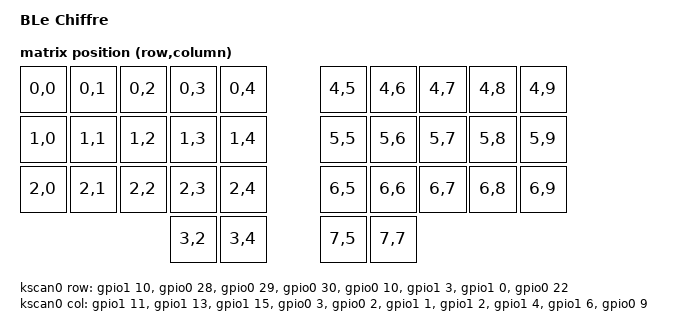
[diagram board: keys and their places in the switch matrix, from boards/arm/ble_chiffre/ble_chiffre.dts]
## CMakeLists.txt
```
cmake_minimum_required(VERSION 3.13.1)

set(CONFIG_APPLICATION_DEFINED_SYSCALL true)
list(APPEND BOARD_ROOT ${CMAKE_SOURCE_DIR})
list(APPEND DTS_ROOT ${CMAKE_SOURCE_DIR})

# Add our custom Zephyr module for drivers w/ syscalls, etc.
list(APPEND DTS_ROOT ${CMAKE_SOURCE_DIR}/drivers/zephyr)

list(APPEND ZEPHYR_EXTRA_MODULES
  ${CMAKE_CURRENT_SOURCE_DIR}/drivers
)

include(cmake/zmk_config.cmake)

# Find Zephyr. This also loads Zephyr's build system.
find_package(Zephyr REQUIRED HINTS ../zephyr)
project(zmk)

zephyr_linker_sources(RODATA include/linker/zmk-events.ld)

# Add your source file to the "app" target. This must come after
# find_package(Zephyr) which defines the target.
target_include_directories(app PRIVATE include)
target_sources_ifdef(CONFIG_ZMK_SLEEP app PRIVATE src/power.c)
target_sources(app PRIVATE src/activity.c)
target_sources(app PRIVATE src/kscan.c)
target_sources(app PRIVATE src/matrix_transform.c)
target_sources(app PRIVATE src/hid.c)
target_sources(app PRIVATE src/sensors.c)
target_sources(app PRIVATE src/event_manager.c)
target_sources_ifdef(CONFIG_ZMK_EXT_POWER app PRIVATE src/ext_power_generic.c)
target_sources(app PRIVATE src/events/activity_state_changed.c)
target_sources(app PRIVATE src/events/position_state_changed.c)
target_sources(app PRIVATE src/events/layer_state_changed.c)
target_sources(app PRIVATE src/events/keycode_state_changed.c)
target_sources(app PRIVATE src/events/modifiers_state_changed.c)
target_sources(app PRIVATE src/events/sensor_event.c)
target_sources_ifdef(CONFIG_ZMK_BLE app PRIVATE src/events/ble_active_profile_changed.c)
target_sources_ifdef(CONFIG_ZMK_BLE app PRIVATE src/events/battery_state_changed.c)
target_sources_ifdef(CONFIG_USB app PRIVATE src/events/usb_conn_state_changed.c)
if ((NOT CONFIG_ZMK_SPLIT) OR CONFIG_ZMK_SPLIT_BLE_ROLE_CENTRAL)
  target_sources(app PRIVATE src/behaviors/behavior_key_press.c)
  target_sources(app PRIVATE src/behaviors/behavior_reset.c)
  target_sources(app PRIVATE src/behaviors/behavior_hold_tap.c)
  target_sources(app PRIVATE src/behaviors/behavior_combo.c)
  target_sources(app PRIVATE src/behaviors/behavior_sticky_key.c)
  target_sources(app PRIVATE src/behaviors/behavior_momentary_layer.c)
  target_sources(app PRIVATE src/behaviors/behavior_outputs.c)
  target_sources(app PRIVATE src/behaviors/behavior_toggle_layer.c)
  target_sources(app PRIVATE src/behaviors/behavior_to_layer.c)
  target_sources(app PRIVATE src/behaviors/behavior_transparent.c)
  target_sources(app PRIVATE src/behaviors/behavior_none.c)
  target_sources(app PRIVATE src/behaviors/behavior_sensor_rotate_key_press.c)
  target_sources_ifdef(CONFIG_ZMK_EXT_POWER app PRIVATE src/behaviors/behavior_ext_power.c)
  target_sources(app PRIVATE src/combo.c)
  target_sources(app PRIVATE src/keymap.c)
endif()
target_sources_ifdef(CONFIG_ZMK_RGB_UNDERGLOW app PRIVATE src/behaviors/behavior_rgb_underglow.c)
target_sources_ifdef(CONFIG_ZMK_BLE app PRIVATE src/behaviors/behavior_bt.c)
target_sources_ifdef(CONFIG_ZMK_BLE app PRIVATE src/ble.c)
target_sources_ifdef(CONFIG_ZMK_BLE app PRIVATE src/battery.c)
if (CONFIG_ZMK_SPLIT_BLE AND (NOT CONFIG_ZMK_SPLIT_BLE_ROLE_CENTRAL))
	target_sources(app PRIVATE src/split_listener.c)
	target_sources(app PRIVATE src/split/bluetooth/service.c)
endif()
if (CONFIG_ZMK_SPLIT_BLE AND CONFIG_ZMK_SPLIT_BLE_ROLE_CENTRAL)
	target_sources(app PRIVATE src/split/bluetooth/central.c)
endif()
target_sources_ifdef(CONFIG_USB app PRIVATE src/usb.c)
target_sources_ifdef(CONFIG_ZMK_BLE app PRIVATE src/hog.c)
target_sources_ifdef(CONFIG_ZMK_RGB_UNDERGLOW app PRIVATE src/rgb_underglow.c)
target_sources(app PRIVATE src/endpoints.c)
target_sources(app PRIVATE src/hid_listener.c)
target_sources(app PRIVATE src/main.c)

add_subdirectory(src/display/)

zephyr_cc_option(-Wfatal-errors)
```

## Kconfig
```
# Copyright (c) 2020 The ZMK Contributors
# SPDX-License-Identifier: MIT

mainmenu "ZMK Firmware"

menu "ZMK"

menu "Basic Keyboard Setup"

config ZMK_KEYBOARD_NAME
	string "Keyboard Name"

config USB_DEVICE_PRODUCT
	default ZMK_KEYBOARD_NAME

config BT_DEVICE_NAME
	default ZMK_KEYBOARD_NAME

config USB_DEVICE_VID
	default 0x1D50

config USB_DEVICE_PID
	default 0x615E

config USB_DEVICE_MANUFACTURER
	default "ZMK Project"

menu "HID Output Types"

config ZMK_USB
	bool "USB"
	select USB
	select USB_DEVICE_STACK
	select USB_DEVICE_HID

if ZMK_USB

config USB_NUMOF_EP_WRITE_RETRIES
	default 10

#ZMK_USB
endif

config ZMK_BLE
	bool "BLE (HID over GATT)"
	select BT
	select BT_SMP
	select BT_SMP_SC_PAIR_ONLY
	select BT_SMP_APP_PAIRING_ACCEPT
	select BT_PERIPHERAL
	select BT_DIS
	select BT_BAS
	select BT_SETTINGS
	select SETTINGS

if ZMK_BLE

config SYSTEM_WORKQUEUE_STACK_SIZE
	default 2048

config ZMK_BLE_CLEAR_BONDS_ON_START
	bool "Configuration that clears all bond information from the keyboard on startup."
	default n

# HID GATT notifications sent this way are *not* picked up by Linux, and possibly others.
config BT_GATT_NOTIFY_MULTIPLE
	default n

config BT_DEVICE_APPEARANCE
	default 961

config ZMK_BLE_PASSKEY_ENTRY
	bool "Experimental: Requiring typing passkey from host to pair BLE connection"
	default n

#ZMK_BLE
endif

#HID Output Types
endmenu

menu "Split Support"

config ZMK_SPLIT
	bool "Split keyboard support"

if ZMK_SPLIT

config ZMK_SPLIT_BLE
	bool "Split keyboard support via BLE transport"
	depends on ZMK_BLE
	default y
	select BT_USER_PHY_UPDATE

if ZMK_SPLIT_BLE

config ZMK_SPLIT_BLE_ROLE_CENTRAL
	bool "Central"
	select BT_CENTRAL
	select BT_GATT_CLIENT

if !ZMK_SPLIT_BLE_ROLE_CENTRAL

config ZMK_USB
	default n

config BT_MAX_PAIRED
	default 1

config BT_MAX_CONN
	default 1

config BT_GAP_AUTO_UPDATE_CONN_PARAMS
	default n

#!ZMK_SPLIT_BLE_ROLE_CENTRAL
endif

#ZMK_SPLIT_BLE
endif

#ZMK_SPLIT
endif 

if ZMK_BLE

if ZMK_SPLIT_BLE && ZMK_SPLIT_BLE_ROLE_CENTRAL

config BT_MAX_CONN
	default 6

config BT_MAX_PAIRED
	default 6

#ZMK_SPLIT_BLE && ZMK_SPLIT_BLE_ROLE_CENTRAL
endif

if !ZMK_SPLIT_BLE

config BT_MAX_CONN
	default 5

config BT_MAX_PAIRED
	default 5

#!ZMK_SPLIT_BLE
endif

#ZMK_BLE
endif

#Split Support
endmenu

#Basic Keyboard Setup
endmenu

menu "Display/LED Options"

rsource "src/display/Kconfig"

config ZMK_RGB_UNDERGLOW
	bool "RGB Adressable LED Underglow"
	select LED_STRIP

if ZMK_RGB_UNDERGLOW

# This default value cuts down on tons of excess .conf files, if you're using GPIO, manually disable this
config SPI
	default y

config ZMK_RGB_UNDERGLOW_EXT_POWER
	bool "RGB underglow toggling also controls external power"
	default y

config ZMK_RGB_UNDERGLOW_HUE_STEP
	int "RGB underglow hue step in degrees of 360"
	default 10

config ZMK_RGB_UNDERGLOW_SAT_STEP
	int "RGB underglow sturation step in percent"
	default 10

config ZMK_RGB_UNDERGLOW_BRT_STEP
	int "RGB underglow brightness step in percent"
	default 10

config ZMK_RGB_UNDERGLOW_HUE_START
	int "RGB underglow start hue value from 0-359"
	default 0

config ZMK_RGB_UNDERGLOW_SAT_START
	int "RGB underglow start saturations value from 0-100"
	default 100

config ZMK_RGB_UNDERGLOW_BRT_START
	int "RGB underglow start brightness value from 0-100"
	default 100

config ZMK_RGB_UNDERGLOW_SPD_START
	int "RGB underglow start animation speed value from 1-5"
	default 3

config ZMK_RGB_UNDERGLOW_EFF_START
	int "RGB underglow start effect int value related to the effect enum list"
	default 0

config ZMK_RGB_UNDERGLOW_ON_START
	bool "RGB underglow starts on by default"
	default y

#ZMK_RGB_UNDERGLOW
endif

#Display/LED Options
endmenu

menu "Power Management"

config ZMK_IDLE_TIMEOUT
	int "Milliseconds of inactivity before entering idle state (OLED shutoff, etc)"
	default 30000

config ZMK_SLEEP
	bool "Enable deep sleep support"
	imply USB

if ZMK_SLEEP

config SYS_POWER_DEEP_SLEEP_STATES
	default y

choice SYS_PM_POLICY
	default SYS_PM_POLICY_APP
endchoice

config DEVICE_POWER_MANAGEMENT
	default y

config ZMK_IDLE_SLEEP_TIMEOUT
	int "Milliseconds of inactivity before entering deep sleep"
	default 900000

#ZMK_SLEEP
endif

config ZMK_EXT_POWER
	bool "Enable support to control external power output"
	default y

#Power Management
endmenu

menu "Combo options"

config ZMK_BHV_COMBO_MAX_PRESSED_COMBOS
	int "Maximum number of currently pressed combos"
	default 4

config ZMK_BHV_COMBO_MAX_COMBOS_PER_KEY
	int "Maximum number of combos per key"
	default 5

config ZMK_BHV_COMBO_MAX_KEYS_PER_COMBO
	int "Maximum number of keys per combo"
	default 4

#Display/LED Options
endmenu

menu "Advanced"

menu "Initialization Priorities"

if USB

config ZMK_USB_INIT_PRIORITY
	int "USB Init Priority"
	default 50

#USB
endif

if ZMK_BLE || ZMK_SPLIT_BLE

config ZMK_BLE_INIT_PRIORITY
	int "BLE Init Priority"
	default 50

#ZMK_BLE || ZMK_SPLIT_BLE
endif

#Initialization Priorities
endmenu

menu "KSCAN Settings"

config ZMK_KSCAN_EVENT_QUEUE_SIZE
	int "Size of the event queue for KSCAN events to buffer events"
	default 4

config ZMK_KSCAN_MOCK_DRIVER
	bool "Enable mock kscan driver to simulate key presses"
	default n

config ZMK_KSCAN_COMPOSITE_DRIVER
	bool "Enable composite kscan driver to combine kscan devices"
	default n

#KSCAN Settings
endmenu

if SETTINGS

config ZMK_SETTINGS_SAVE_DEBOUNCE
	int "Milliseconds to debounce settings saves"
	default 60000

#SETTINGS
endif

#Advanced
endmenu

#ZMK
endmenu

config HEAP_MEM_POOL_SIZE
	default 8192

config KERNEL_BIN_NAME
	default "zmk"

config REBOOT
	default y

module = ZMK
module-str = zmk
source "subsys/logging/Kconfig.template.log_config"

rsource "boards/Kconfig"
rsource "boards/shields/*/Kconfig.defconfig"
rsource "boards/shields/*/Kconfig.shield"

osource "$(ZMK_CONFIG)/boards/shields/*/Kconfig.defconfig"
osource "$(ZMK_CONFIG)/boards/shields/*/Kconfig.shield"


source "Kconfig.zephyr"
```

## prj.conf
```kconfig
# Turn on logging, and set ZMK logging to debug output
CONFIG_LOG=y
CONFIG_ZMK_LOG_LEVEL_DBG=y

# Turn on USB CDC ACM device
CONFIG_USB=y
CONFIG_USB_DEVICE_STACK=y
CONFIG_USB_CDC_ACM=y
CONFIG_USB_CDC_ACM_RINGBUF_SIZE=1024
CONFIG_USB_CDC_ACM_DEVICE_NAME="CDC_ACM"
CONFIG_USB_CDC_ACM_DEVICE_COUNT=1

# Enable serial console
CONFIG_SERIAL=y
CONFIG_CONSOLE=y
CONFIG_UART_INTERRUPT_DRIVEN=y
CONFIG_UART_LINE_CTRL=y

# Enable USB UART, and set the console device
CONFIG_UART_CONSOLE=y
CONFIG_USB_UART_CONSOLE=y
CONFIG_UART_CONSOLE_ON_DEV_NAME="CDC_ACM_0"
```

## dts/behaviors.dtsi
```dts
#include <behaviors/key_press.dtsi>
#include <behaviors/transparent.dtsi>
#include <behaviors/none.dtsi>
#include <behaviors/mod_tap.dtsi>
#include <behaviors/layer_tap.dtsi>
#include <behaviors/gresc.dtsi>
#include <behaviors/sticky_key.dtsi>
#include <behaviors/momentary_layer.dtsi>
#include <behaviors/toggle_layer.dtsi>
#include <behaviors/reset.dtsi>
#include <behaviors/sensor_rotate_key_press.dtsi>
#include <behaviors/rgb_underglow.dtsi>
#include <behaviors/bluetooth.dtsi>
#include <behaviors/ext_power.dtsi>
#include <behaviors/outputs.dtsi>
```

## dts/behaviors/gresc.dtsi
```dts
/*
 * Copyright (c) 2020 The ZMK Contributors
 *
 * SPDX-License-Identifier: MIT
 */

#include <dt-bindings/zmk/keys.h>

/ {
	behaviors {
		gresc: grave_escape {
			compatible = "zmk,behavior-mod-morph";
			label = "GRAVE_ESCAPE";
			#binding-cells = <0>;
			bindings = <&kp ESC>, <&kp GRAVE>;
            mods = <(MOD_LGUI|MOD_LSFT)>;
		};
	};
};
```

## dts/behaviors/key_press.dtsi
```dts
#include <zmk/hid_usage.h>

/ {
	behaviors {
		kp: behavior_key_press {
			compatible = "zmk,behavior-key-press";
			label = "KEY_PRESS";
			usage_page = <HID_USAGE_KEY>;
			#binding-cells = <1>;
		};

		cp: behavior_consumer_press {
			compatible = "zmk,behavior-key-press";
			label = "CONSUMER_PRESS";
			usage_page = <HID_USAGE_CONSUMER>;
			#binding-cells = <1>;
		};
	};
};
```

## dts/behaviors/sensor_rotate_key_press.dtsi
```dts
#include <zmk/hid_usage.h>

/ {
	behaviors {
		inc_dec_kp: behavior_sensor_rotate_key_press {
			compatible = "zmk,behavior-sensor-rotate-key-press";
			label = "ENC_KEY_PRESS";
			usage_page = <HID_USAGE_KEY>;
			#sensor-binding-cells = <2>;
		};

		inc_dec_cp: behavior_sensor_rotate_consumer_press {
			compatible = "zmk,behavior-sensor-rotate-key-press";
			label = "ENC_CONSUMER_PRESS";
			usage_page = <HID_USAGE_CONSUMER>;
			#sensor-binding-cells = <2>;
		};
	};
};
```

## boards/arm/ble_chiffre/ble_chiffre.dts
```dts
/*
 * Copyright (c) 2020 Pete Johanson, TJ Campie
 *
 * SPDX-License-Identifier: MIT
 */

/dts-v1/;
#include <nordic/nrf52840_qiaa.dtsi>
#include <dt-bindings/zmk/matrix-transform.h>

/ {
	model = "BLe Chiffre";
	compatible = "ble,chiffre";

	chosen {
		zephyr,code-partition = &code_partition;
		zephyr,sram = &sram0;
		zephyr,flash = &flash0;

        zmk,kscan = &kscan0;
        zmk,matrix_transform = &default_transform;

    default_transform: keymap_transform_0 {
        compatible = "zmk,matrix-transform";
        columns = <10>;
        rows = <8>;
        map = <
    RC(0,0) RC(0,1) RC(0,2) RC(0,3) RC(0,4) RC(4,5) RC(4,6) RC(4,7) RC(4,8) RC(4,9)
    RC(1,0) RC(1,1) RC(1,2) RC(1,3) RC(1,4) RC(5,5) RC(5,6) RC(5,7) RC(5,8) RC(5,9)
    RC(2,0) RC(2,1) RC(2,2) RC(2,3) RC(2,4) RC(6,5) RC(6,6) RC(6,7) RC(6,8) RC(6,9)
    RC(3,2) RC(3,4) RC(7,5) RC(7,7)
        >;
    };

    kscan0: kscan_0 {
        compatible = "zmk,kscan-gpio-matrix";
        label = "KSCAN";
        diode-direction = "col2row";

        col-gpios
            = <&gpio1 11 GPIO_ACTIVE_HIGH>
            , <&gpio1 13 GPIO_ACTIVE_HIGH>
            , <&gpio1 15 GPIO_ACTIVE_HIGH>
            , <&gpio0 3 GPIO_ACTIVE_HIGH>
            , <&gpio0 2 GPIO_ACTIVE_HIGH>
            , <&gpio1 1 GPIO_ACTIVE_HIGH>
            , <&gpio1 2 GPIO_ACTIVE_HIGH>
            , <&gpio1 4 GPIO_ACTIVE_HIGH>
            , <&gpio1 6 GPIO_ACTIVE_HIGH>
            , <&gpio0 9 GPIO_ACTIVE_HIGH>
            ;

        row-gpios
            = <&gpio1 10 (GPIO_ACTIVE_HIGH | GPIO_PULL_DOWN)>
            , <&gpio0 28 (GPIO_ACTIVE_HIGH | GPIO_PULL_DOWN)>
            , <&gpio0 29 (GPIO_ACTIVE_HIGH | GPIO_PULL_DOWN)>
            , <&gpio0 30 (GPIO_ACTIVE_HIGH | GPIO_PULL_DOWN)>
            , <&gpio0 10 (GPIO_ACTIVE_HIGH | GPIO_PULL_DOWN)>
            , <&gpio1 3 (GPIO_ACTIVE_HIGH | GPIO_PULL_DOWN)>
            , <&gpio1 0 (GPIO_ACTIVE_HIGH | GPIO_PULL_DOWN)>
            , <&gpio0 22 (GPIO_ACTIVE_HIGH | GPIO_PULL_DOWN)>
            ;
    };
    
};

	ext-power {
		compatible = "zmk,ext-power-generic";
		label = "EXT_POWER";
		control-gpios = <&gpio0 7 GPIO_ACTIVE_LOW>;
	};

	vbatt {
		compatible = "zmk,battery-voltage-divider";
		label = "BATTERY";
		io-channels = <&adc 2>;
		output-ohms = <2000000>;
		full-ohms = <(2000000 + 806000)>;
	};
};

&adc {
	status = "okay";
};

&gpiote {
	status = "okay";
};

&gpio0 {
	status = "okay";
};

&gpio1 {
	status = "okay";
};

&i2c0 {
	compatible = "nordic,nrf-twi";
	sda-pin = <21>;
	scl-pin = <19>;
};

&uart0 {
 	compatible = "nordic,nrf-uarte";
 	status = "okay";
 	current-speed = <115200>;
 	tx-pin = <19>;
 	rx-pin = <21>;
 	rts-pin = <23>;
	cts-pin = <25>;
 };
 
&usbd {
	status = "okay";
};

&flash0 {
	/*
	 * For more information, see:
	 * http://docs.zephyrproject.org/latest/devices/dts/flash_partitions.html
	 */
	partitions {
		compatible = "fixed-partitions";
		#address-cells = <1>;
		#size-cells = <1>;

		sd_partition: partition@0 {
			label = "softdevice";
			reg = <0x00000000 0x00026000>;
		};
		code_partition: partition@26000 {
			label = "code_partition";
			reg = <0x00026000 0x000c6000>;
		};

		/*
		 * The flash starting at 0x000ec000 and ending at
		 * 0x000f3fff is reserved for use by the application.
		 */

		/*
		 * Storage partition will be used by FCB/LittleFS/NVS
		 * if enabled.
		 */
		storage_partition: partition@ec000 {
			label = "storage";
			reg = <0x000ec000 0x00008000>;
		};

		boot_partition: partition@f4000 {
			label = "adafruit_boot";
			reg = <0x000f4000 0x0000c000>;
		};
	};
};
```

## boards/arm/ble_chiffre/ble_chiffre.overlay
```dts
/*
 * Copyright (c) 2020 The ZMK Contributors
 *
 * SPDX-License-Identifier: MIT
 */

#include <dt-bindings/zmk/matrix-transform.h>

/ {
    chosen {
        zmk,kscan = &kscan0;
        zmk,matrix_transform = &default_transform;
    };

    default_transform: keymap_transform_0 {
        compatible = "zmk,matrix-transform";
        columns = <10>;
        rows = <8>;
        map = <
    RC(0,0) RC(0,1) RC(0,2) RC(0,3) RC(0,4) RC(4,5) RC(4,6) RC(4,7) RC(4,8) RC(4,9)
    RC(1,0) RC(1,1) RC(1,2) RC(1,3) RC(1,4) RC(5,5) RC(5,6) RC(5,7) RC(5,8) RC(5,9)
    RC(2,0) RC(2,1) RC(2,2) RC(2,3) RC(2,4) RC(6,5) RC(6,6) RC(6,7) RC(6,8) RC(6,9)
    RC(3,2) RC(3,4) RC(7,5) RC(7,7)
        >;
    };


    kscan0: kscan_0 {
        compatible = "zmk,kscan-gpio-matrix";
        label = "KSCAN";
        diode-direction = "col2row";

        col-gpios
            = <&gpio1 11 GPIO_ACTIVE_HIGH>
            , <&gpio1 13 GPIO_ACTIVE_HIGH>
            , <&gpio1 15 GPIO_ACTIVE_HIGH>
            , <&gpio0 3 GPIO_ACTIVE_HIGH>
            , <&gpio0 2 GPIO_ACTIVE_HIGH>
            , <&gpio1 1 GPIO_ACTIVE_HIGH>
            , <&gpio1 2 GPIO_ACTIVE_HIGH>
            , <&gpio1 4 GPIO_ACTIVE_HIGH>
            , <&gpio1 6 GPIO_ACTIVE_HIGH>
            , <&gpio0 9 GPIO_ACTIVE_HIGH>
            ;

        row-gpios
            = <&gpio1 10 (GPIO_ACTIVE_HIGH | GPIO_PULL_DOWN)>
            , <&gpio0 28 (GPIO_ACTIVE_HIGH | GPIO_PULL_DOWN)>
            , <&gpio0 29 (GPIO_ACTIVE_HIGH | GPIO_PULL_DOWN)>
            , <&gpio0 30 (GPIO_ACTIVE_HIGH | GPIO_PULL_DOWN)>
            , <&gpio0 10 (GPIO_ACTIVE_HIGH | GPIO_PULL_DOWN)>
            , <&gpio1 3 (GPIO_ACTIVE_HIGH | GPIO_PULL_DOWN)>
            , <&gpio1 0 (GPIO_ACTIVE_HIGH | GPIO_PULL_DOWN)>
            , <&gpio0 22 (GPIO_ACTIVE_HIGH | GPIO_PULL_DOWN)>
            ;
    };
    
};
```

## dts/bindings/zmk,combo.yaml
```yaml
# Copyright (c) 2020, The ZMK Contributors
# SPDX-License-Identifier: MIT

description: Combos container

compatible: "zmk,combo"

child-binding:
  description: "A combo"

  properties:
    bindings:
      type: phandle-array
      required: true
    key-positions:
      type: array
      required: true
    timeout-ms:
      type: int
      default: 50
    slow-release:
      type: boolean
```

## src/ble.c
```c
/*
 * Copyright (c) 2020 The ZMK Contributors
 *
 * SPDX-License-Identifier: MIT
 */

#include <device.h>
#include <init.h>

#include <math.h>
#include <stdlib.h>
#include <stdio.h>

#include <settings/settings.h>
#include <bluetooth/bluetooth.h>
#include <bluetooth/conn.h>
#include <bluetooth/hci.h>
#include <bluetooth/uuid.h>
#include <bluetooth/gatt.h>
#include <bluetooth/hci_err.h>

#if IS_ENABLED(CONFIG_SETTINGS)

#include <settings/settings.h>

#endif

#include <logging/log.h>

LOG_MODULE_DECLARE(zmk, CONFIG_ZMK_LOG_LEVEL);

#include <zmk/ble.h>
#include <zmk/keys.h>
#include <zmk/split/bluetooth/uuid.h>
#include <zmk/event_manager.h>
#include <zmk/events/ble_active_profile_changed.h>

static struct bt_conn *auth_passkey_entry_conn;
static uint8_t passkey_entries[6] = {0, 0, 0, 0, 0, 0};
static uint8_t passkey_digit = 0;

#if IS_ENABLED(CONFIG_ZMK_SPLIT_BLE_ROLE_CENTRAL)
#define PROFILE_COUNT (CONFIG_BT_MAX_PAIRED - 1)
#else
#define PROFILE_COUNT CONFIG_BT_MAX_PAIRED
#endif

enum advertising_type {
    ZMK_ADV_NONE,
    ZMK_ADV_DIR,
    ZMK_ADV_CONN,
} advertising_status;

#define CURR_ADV(adv) (adv << 4)

#define ZMK_ADV_CONN_NAME                                                                          \
    BT_LE_ADV_PARAM(BT_LE_ADV_OPT_CONNECTABLE | BT_LE_ADV_OPT_ONE_TIME, BT_GAP_ADV_FAST_INT_MIN_2, \
                    BT_GAP_ADV_FAST_INT_MAX_2, NULL)

static struct zmk_ble_profile profiles[PROFILE_COUNT];
static uint8_t active_profile;

#define DEVICE_NAME CONFIG_BT_DEVICE_NAME
#define DEVICE_NAME_LEN (sizeof(DEVICE_NAME) - 1)

#define IS_HOST_PERIPHERAL                                                                         \
    (!IS_ENABLED(CONFIG_ZMK_SPLIT) || IS_ENABLED(CONFIG_ZMK_SPLIT_BLE_ROLE_CENTRAL))
#define IS_SPLIT_PERIPHERAL                                                                        \
    (IS_ENABLED(CONFIG_ZMK_SPLIT) && !IS_ENABLED(CONFIG_ZMK_SPLIT_BLE_ROLE_CENTRAL))

static const struct bt_data zmk_ble_ad[] = {
#if IS_HOST_PERIPHERAL
    BT_DATA(BT_DATA_NAME_COMPLETE, DEVICE_NAME, DEVICE_NAME_LEN),
    BT_DATA_BYTES(BT_DATA_GAP_APPEARANCE, 0xC1, 0x03),
#endif
    BT_DATA_BYTES(BT_DATA_FLAGS, (BT_LE_AD_GENERAL | BT_LE_AD_NO_BREDR)),
    BT_DATA_BYTES(BT_DATA_UUID16_SOME,
#if IS_HOST_PERIPHERAL
                  0x12, 0x18, /* HID Service */
#endif
                  0x0f, 0x18 /* Battery Service */
                  ),
#if IS_SPLIT_PERIPHERAL
    BT_DATA_BYTES(BT_DATA_UUID128_ALL, ZMK_SPLIT_BT_SERVICE_UUID)
#endif
};

#if IS_ENABLED(CONFIG_ZMK_SPLIT_BLE_ROLE_CENTRAL)

static bt_addr_le_t peripheral_addr;

#endif /* IS_ENABLED(CONFIG_ZMK_SPLIT_BLE_ROLE_CENTRAL) */

static void raise_profile_changed_event() {
    struct ble_active_profile_changed *ev = new_ble_active_profile_changed();
    ev->index = active_profile;
    ev->profile = &profiles[active_profile];

    ZMK_EVENT_RAISE(ev);
}

static void raise_profile_changed_event_callback(struct k_work *work) {
    raise_profile_changed_event();
}

K_WORK_DEFINE(raise_profile_changed_event_work, raise_profile_changed_event_callback);

bool zmk_ble_active_profile_is_open() {
    return !bt_addr_le_cmp(&profiles[active_profile].peer, BT_ADDR_LE_ANY);
}

void set_profile_address(uint8_t index, const bt_addr_le_t *addr) {
    char setting_name[15];
    char addr_str[BT_ADDR_LE_STR_LEN];

    bt_addr_le_to_str(addr, addr_str, sizeof(addr_str));

    memcpy(&profiles[index].peer, addr, sizeof(bt_addr_le_t));
    sprintf(setting_name, "ble/profiles/%d", index);
    LOG_DBG("Setting profile addr for %s to %s", log_strdup(setting_name), log_strdup(addr_str));
    settings_save_one(setting_name, &profiles[index], sizeof(struct zmk_ble_profile));
    k_work_submit(&raise_profile_changed_event_work);
}

bool zmk_ble_active_profile_is_connected() {
    struct bt_conn *conn;
    bt_addr_le_t *addr = zmk_ble_active_profile_addr();
    if (!bt_addr_le_cmp(addr, BT_ADDR_LE_ANY)) {
        return false;
    } else if ((conn = bt_conn_lookup_addr_le(BT_ID_DEFAULT, addr)) == NULL) {
        return false;
    }

    bt_conn_unref(conn);

    return true;
}

#define CHECKED_ADV_STOP()                                                                         \
    err = bt_le_adv_stop();                                                                        \
    advertising_status = ZMK_ADV_NONE;                                                             \
    if (err) {                                                                                     \
        LOG_ERR("Failed to stop advertising (err %d)", err);                                       \
        return err;                                                                                \
    }

#define CHECKED_DIR_ADV()                                                                          \
    addr = zmk_ble_active_profile_addr();                                                          \
    conn = bt_conn_lookup_addr_le(BT_ID_DEFAULT, addr);                                            \
    if (conn != NULL) { /* TODO: Check status of connection */                                     \
        LOG_DBG("Skipping advertising, profile host is already connected");                        \
        bt_conn_unref(conn);                                                                       \
        return 0;                                                                                  \
    }                                                                                              \
    err = bt_le_adv_start(BT_LE_ADV_CONN_DIR_LOW_DUTY(addr), zmk_ble_ad, ARRAY_SIZE(zmk_ble_ad),   \
                          NULL, 0);                                                                \
    if (err) {                                                                                     \
        LOG_ERR("Advertising failed to start (err %d)", err);                                      \
        return err;                                                                                \
    }                                                                                              \
    advertising_status = ZMK_ADV_DIR;

#define CHECKED_OPEN_ADV()                                                                         \
    err = bt_le_adv_start(ZMK_ADV_CONN_NAME, zmk_ble_ad, ARRAY_SIZE(zmk_ble_ad), NULL, 0);         \
    if (err) {                                                                                     \
        LOG_ERR("Advertising failed to start (err %d)", err);                                      \
        return err;                                                                                \
    }                                                                                              \
    advertising_status = ZMK_ADV_CONN;

int update_advertising() {
    int err = 0;
    bt_addr_le_t *addr;
    struct bt_conn *conn;
    enum advertising_type desired_adv = ZMK_ADV_NONE;

    if (zmk_ble_active_profile_is_open()) {
        desired_adv = ZMK_ADV_CONN;
    } else if (!zmk_ble_active_profile_is_connected()) {
        desired_adv = ZMK_ADV_CONN;
        // Need to fix directed advertising for privacy centrals. See
        // https://github.com/zephyrproject-rtos/zephyr/pull/14984 char
        // addr_str[BT_ADDR_LE_STR_LEN]; bt_addr_le_to_str(zmk_ble_active_profile_addr(), addr_str,
        // sizeof(addr_str));

        // LOG_DBG("Directed advertising to %s", log_strdup(addr_str));
        // desired_adv = ZMK_ADV_DIR;
    }
    LOG_DBG("advertising from %d to %d", advertising_status, desired_adv);

    switch (desired_adv + CURR_ADV(advertising_status)) {
    case ZMK_ADV_NONE + CURR_ADV(ZMK_ADV_DIR):
    case ZMK_ADV_NONE + CURR_ADV(ZMK_ADV_CONN):
        CHECKED_ADV_STOP();
        break;
    case ZMK_ADV_DIR + CURR_ADV(ZMK_ADV_DIR):
    case ZMK_ADV_DIR + CURR_ADV(ZMK_ADV_CONN):
        CHECKED_ADV_STOP();
        CHECKED_DIR_ADV();
        break;
    case ZMK_ADV_DIR + CURR_ADV(ZMK_ADV_NONE):
        CHECKED_DIR_ADV();
        break;
    case ZMK_ADV_CONN + CURR_ADV(ZMK_ADV_DIR):
        CHECKED_ADV_STOP();
        CHECKED_OPEN_ADV();
        break;
    case ZMK_ADV_CONN + CURR_ADV(ZMK_ADV_NONE):
        CHECKED_OPEN_ADV();
        break;
    }

    return 0;
};

static void update_advertising_callback(struct k_work *work) { update_advertising(); }

K_WORK_DEFINE(update_advertising_work, update_advertising_callback);

int zmk_ble_clear_bonds() {
    LOG_DBG("");

    if (bt_addr_le_cmp(&profiles[active_profile].peer, BT_ADDR_LE_ANY)) {
        LOG_DBG("Unpairing!");
        bt_unpair(BT_ID_DEFAULT, &profiles[active_profile].peer);
        set_profile_address(active_profile, BT_ADDR_LE_ANY);
    }

    update_advertising();

    return 0;
};

int zmk_ble_active_profile_index() { return active_profile; }

#if IS_ENABLED(CONFIG_SETTINGS)
static void ble_save_profile_work(struct k_work *work) {
    settings_save_one("ble/active_profile", &active_profile, sizeof(active_profile));
}

static struct k_delayed_work ble_save_work;
#endif

static int ble_save_profile() {
#if IS_ENABLED(CONFIG_SETTINGS)
    k_delayed_work_cancel(&ble_save_work);
    return k_delayed_work_submit(&ble_save_work, K_MSEC(CONFIG_ZMK_SETTINGS_SAVE_DEBOUNCE));
#else
    return 0;
#endif
}

int zmk_ble_prof_select(uint8_t index) {
    LOG_DBG("profile %d", index);
    if (active_profile == index) {
        return 0;
    }

    active_profile = index;
    ble_save_profile();

    update_advertising();

    raise_profile_changed_event();

    return 0;
};

int zmk_ble_prof_next() {
    LOG_DBG("");
    return zmk_ble_prof_select((active_profile + 1) % PROFILE_COUNT);
};

int zmk_ble_prof_prev() {
    LOG_DBG("");
    return zmk_ble_prof_select((active_profile + PROFILE_COUNT - 1) % PROFILE_COUNT);
};

bt_addr_le_t *zmk_ble_active_profile_addr() { return &profiles[active_profile].peer; }

char *zmk_ble_active_profile_name() { return profiles[active_profile].name; }

#if IS_ENABLED(CONFIG_ZMK_SPLIT_BLE_ROLE_CENTRAL)

void zmk_ble_set_peripheral_addr(bt_addr_le_t *addr) {
    memcpy(&peripheral_addr, addr, sizeof(bt_addr_le_t));
    settings_save_one("ble/peripheral_address", addr, sizeof(bt_addr_le_t));
}

#endif /* IS_ENABLED(CONFIG_ZMK_SPLIT_BLE_ROLE_CENTRAL) */

#if IS_ENABLED(CONFIG_SETTINGS)

static int ble_profiles_handle_set(const char *name, size_t len, settings_read_cb read_cb,
                                   void *cb_arg) {
    const char *next;

    LOG_DBG("Setting BLE value %s", log_strdup(name));

    if (settings_name_steq(name, "profiles", &next) && next) {
        char *endptr;
        uint8_t idx = strtoul(next, &endptr, 10);
        if (*endptr != '\0') {
            LOG_WRN("Invalid profile index: %s", log_strdup(next));
            return -EINVAL;
        }

        if (len != sizeof(struct zmk_ble_profile)) {
            LOG_ERR("Invalid profile size (got %d expected %d)", len,
                    sizeof(struct zmk_ble_profile));
            return -EINVAL;
        }

        if (idx >= PROFILE_COUNT) {
            LOG_WRN("Profile address for index %d is larger than max of %d", idx, PROFILE_COUNT);
            return -EINVAL;
        }

        int err = read_cb(cb_arg, &profiles[idx], sizeof(struct zmk_ble_profile));
        if (err <= 0) {
            LOG_ERR("Failed to handle profile address from settings (err %d)", err);
            return err;
        }

        char addr_str[BT_ADDR_LE_STR_LEN];
        bt_addr_le_to_str(&profiles[idx].peer, addr_str, sizeof(addr_str));

        LOG_DBG("Loaded %s address for profile %d", log_strdup(addr_str), idx);
    } else if (settings_name_steq(name, "active_profile", &next) && !next) {
        if (len != sizeof(active_profile)) {
            return -EINVAL;
        }

        int err = read_cb(cb_arg, &active_profile, sizeof(active_profile));
        if (err <= 0) {
            LOG_ERR("Failed to handle active profile from settings (err %d)", err);
            return err;
        }
    }
#if IS_ENABLED(CONFIG_ZMK_SPLIT_BLE_ROLE_CENTRAL)
    else if (settings_name_steq(name, "peripheral_address", &next) && !next) {
        if (len != sizeof(bt_addr_le_t)) {
            return -EINVAL;
        }

        int err = read_cb(cb_arg, &peripheral_addr, sizeof(bt_addr_le_t));
        if (err <= 0) {
            LOG_ERR("Failed to handle peripheral address from settings (err %d)", err);
            return err;
        }
    }
#endif

    return 0;
};

struct settings_handler profiles_handler = {.name = "ble", .h_set = ble_profiles_handle_set};
#endif /* IS_ENABLED(CONFIG_SETTINGS) */

static bool is_conn_active_profile(const struct bt_conn *conn) {
    return bt_addr_le_cmp(bt_conn_get_dst(conn), &profiles[active_profile].peer) == 0;
}

static void connected(struct bt_conn *conn, uint8_t err) {
    char addr[BT_ADDR_LE_STR_LEN];
    bt_addr_le_to_str(bt_conn_get_dst(conn), addr, sizeof(addr));
    LOG_DBG("Connected thread: %p", k_current_get());

    advertising_status = ZMK_ADV_NONE;

    if (err) {
        LOG_WRN("Failed to connect to %s (%u)", log_strdup(addr), err);
        update_advertising();
        return;
    }

    LOG_DBG("Connected %s", log_strdup(addr));

    err = bt_conn_le_param_update(conn, BT_LE_CONN_PARAM(0x0006, 0x000c, 30, 400));
    if (err) {
        LOG_WRN("Failed to update LE parameters (err %d)", err);
    }

#if IS_SPLIT_PERIPHERAL
    bt_conn_le_phy_update(conn, BT_CONN_LE_PHY_PARAM_2M);
#endif

    if (bt_conn_set_security(conn, BT_SECURITY_L2)) {
        LOG_ERR("Failed to set security");
    }

    update_advertising();

    if (is_conn_active_profile(conn)) {
        LOG_DBG("Active profile connected");
        k_work_submit(&raise_profile_changed_event_work);
    }
}

static void disconnected(struct bt_conn *conn, uint8_t reason) {
    char addr[BT_ADDR_LE_STR_LEN];

    bt_addr_le_to_str(bt_conn_get_dst(conn), addr, sizeof(addr));

    LOG_DBG("Disconnected from %s (reason 0x%02x)", log_strdup(addr), reason);

    // We need to do this in a work callback, otherwise the advertising update will still see the
    // connection for a profile as active, and not start advertising yet.
    k_work_submit(&update_advertising_work);

    if (is_conn_active_profile(conn)) {
        LOG_DBG("Active profile disconnected");
        k_work_submit(&raise_profile_changed_event_work);
    }
}

static void security_changed(struct bt_conn *conn, bt_security_t level, enum bt_security_err err) {
    char addr[BT_ADDR_LE_STR_LEN];

    bt_addr_le_to_str(bt_conn_get_dst(conn), addr, sizeof(addr));

    if (!err) {
        LOG_DBG("Security changed: %s level %u", log_strdup(addr), level);
    } else {
        LOG_ERR("Security failed: %s level %u err %d", log_strdup(addr), level, err);
    }
}

static void le_params_updated(struct bt_conn *conn, uint16_t interval, uint16_t latency,
                              uint16_t timeout) {
    char addr[BT_ADDR_LE_STR_LEN];

    bt_addr_le_to_str(bt_conn_get_dst(conn), addr, sizeof(addr));

    LOG_DBG("%s: interval %d latency %d timeout %d", addr, interval, latency, timeout);
}

static struct bt_conn_cb conn_callbacks = {
    .connected = connected,
    .disconnected = disconnected,
    .security_changed = security_changed,
    .le_param_updated = le_params_updated,
};

/*
static void auth_passkey_display(struct bt_conn *conn, unsigned int passkey) {
    char addr[BT_ADDR_LE_STR_LEN];

    bt_addr_le_to_str(bt_conn_get_dst(conn), addr, sizeof(addr));

    LOG_DBG("Passkey for %s: %06u", log_strdup(addr), passkey);
}
*/

#ifdef CONFIG_ZMK_BLE_PASSKEY_ENTRY

static void auth_passkey_entry(struct bt_conn *conn) {
    char addr[BT_ADDR_LE_STR_LEN];

    bt_addr_le_to_str(bt_conn_get_dst(conn), addr, sizeof(addr));

    LOG_DBG("Passkey entry requested for %s", log_strdup(addr));
    auth_passkey_entry_conn = bt_conn_ref(conn);
}

#endif

static void auth_cancel(struct bt_conn *conn) {
    char addr[BT_ADDR_LE_STR_LEN];

    bt_addr_le_to_str(bt_conn_get_dst(conn), addr, sizeof(addr));

    if (auth_passkey_entry_conn) {
        bt_conn_unref(auth_passkey_entry_conn);
        auth_passkey_entry_conn = NULL;
    }

    passkey_digit = 0;

    LOG_DBG("Pairing cancelled: %s", log_strdup(addr));
}

#if IS_HOST_PERIPHERAL
static enum bt_security_err auth_pairing_accept(struct bt_conn *conn,
                                                const struct bt_conn_pairing_feat *const feat) {
    struct bt_conn_info info;
    bt_conn_get_info(conn, &info);

    LOG_DBG("role %d, open? %s", info.role, zmk_ble_active_profile_is_open() ? "yes" : "no");
    if (info.role == BT_CONN_ROLE_SLAVE && !zmk_ble_active_profile_is_open()) {
        LOG_WRN("Rejecting pairing request to taken profile %d", active_profile);
        return BT_SECURITY_ERR_PAIR_NOT_ALLOWED;
    }

    return BT_SECURITY_ERR_SUCCESS;
};
#endif /* IS_HOST_PERIPHERAL */

static void auth_pairing_complete(struct bt_conn *conn, bool bonded) {
    struct bt_conn_info info;
    char addr[BT_ADDR_LE_STR_LEN];
    const bt_addr_le_t *dst = bt_conn_get_dst(conn);

    bt_addr_le_to_str(dst, addr, sizeof(addr));
    bt_conn_get_info(conn, &info);

    if (info.role != BT_CONN_ROLE_SLAVE) {
        LOG_DBG("SKIPPING FOR ROLE %d", info.role);
        return;
    }

#if IS_HOST_PERIPHERAL
    if (!zmk_ble_active_profile_is_open()) {
        LOG_ERR("Pairing completed but current profile is not open: %s", log_strdup(addr));
        bt_unpair(BT_ID_DEFAULT, dst);
        return;
    }
#endif /* IS_HOST_PERIPHERAL */

    set_profile_address(active_profile, dst);
    update_advertising();
};

static struct bt_conn_auth_cb zmk_ble_auth_cb_display = {
#if IS_HOST_PERIPHERAL
    .pairing_accept = auth_pairing_accept,
#endif /* IS_HOST_PERIPHERAL */
    .pairing_complete = auth_pairing_complete,
// .passkey_display = auth_passkey_display,

#ifdef CONFIG_ZMK_BLE_PASSKEY_ENTRY
    .passkey_entry = auth_passkey_entry,
#endif
    .cancel = auth_cancel,
};

static void zmk_ble_ready(int err) {
    LOG_DBG("ready? %d", err);
    if (err) {
        LOG_ERR("Bluetooth init failed (err %d)", err);
        return;
    }

    update_advertising();
}

static int zmk_ble_init(const struct device *_arg) {
    int err = bt_enable(NULL);

    if (err) {
        LOG_ERR("BLUETOOTH FAILED (%d)", err);
        return err;
    }

#if IS_ENABLED(CONFIG_SETTINGS)
    settings_subsys_init();

    err = settings_register(&profiles_handler);
    if (err) {
        LOG_ERR("Failed to setup the profile settings handler (err %d)", err);
        return err;
    }

    k_delayed_work_init(&ble_save_work, ble_save_profile_work);

    settings_load_subtree("ble");
    settings_load_subtree("bt");

#endif

#if IS_ENABLED(CONFIG_ZMK_BLE_CLEAR_BONDS_ON_START)
    LOG_WRN("Clearing all existing BLE bond information from the keyboard");

    for (int i = 0; i < 10; i++) {
        bt_unpair(i, NULL);
    }

    for (int i = 0; i < PROFILE_COUNT; i++) {
        char setting_name[15];
        sprintf(setting_name, "ble/profiles/%d", i);

        err = settings_delete(setting_name);
        if (err) {
            LOG_ERR("Failed to delete setting: %d", err);
        }
    }
#endif

    bt_conn_cb_register(&conn_callbacks);
    bt_conn_auth_cb_register(&zmk_ble_auth_cb_display);

    zmk_ble_ready(0);

    return 0;
}

int zmk_ble_unpair_all() {
    int resp = 0;
    for (int i = BT_ID_DEFAULT; i < CONFIG_BT_ID_MAX; i++) {

        int err = bt_unpair(BT_ID_DEFAULT, NULL);
        if (err) {
            resp = err;
            LOG_ERR("Failed to unpair devices (err %d)", err);
        }
    }

    return resp;
};

bool zmk_ble_handle_key_user(struct zmk_key_event *key_event) {
    zmk_key_t key = key_event->key;

    if (!auth_passkey_entry_conn) {
        return true;
    }

    if (key < NUMBER_1 || key > NUMBER_0) {
        return true;
    }

    uint32_t val = (key == NUMBER_0) ? 0 : (key - NUMBER_1 + 1);

    passkey_entries[passkey_digit++] = val;

    if (passkey_digit == 6) {
        uint32_t passkey = 0;
        for (int i = 5; i >= 0; i--) {
            passkey = (passkey * 10) + val;
        }
        bt_conn_auth_passkey_entry(auth_passkey_entry_conn, passkey);
        bt_conn_unref(auth_passkey_entry_conn);
        auth_passkey_entry_conn = NULL;
    }

    return false;
}

SYS_INIT(zmk_ble_init, APPLICATION, CONFIG_ZMK_BLE_INIT_PRIORITY);
```

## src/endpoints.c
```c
/*
 * Copyright (c) 2020 The ZMK Contributors
 *
 * SPDX-License-Identifier: MIT
 */

#include <zmk/endpoints.h>
#include <zmk/hid.h>
#include <zmk/hid_usage.h>
#include <zmk/usb.h>
#include <zmk/hog.h>

#include <logging/log.h>
LOG_MODULE_DECLARE(zmk, CONFIG_ZMK_LOG_LEVEL);

int zmk_endpoints_send_report(u8_t usage_page) {
    int err;
    struct zmk_hid_keypad_report *keypad_report;
    struct zmk_hid_consumer_report *consumer_report;
    LOG_DBG("usage page 0x%02X", usage_page);
    switch (usage_page) {
    case HID_USAGE_KEY:
        keypad_report = zmk_hid_get_keypad_report();
#ifdef CONFIG_ZMK_USB
        if (zmk_usb_hid_send_report((u8_t *)keypad_report, sizeof(struct zmk_hid_keypad_report)) !=
            0) {
            LOG_DBG("USB Send Failed");
        }
#endif /* CONFIG_ZMK_USB */

#ifdef CONFIG_ZMK_BLE
        err = zmk_hog_send_keypad_report(&keypad_report->body);
        if (err) {
            LOG_ERR("FAILED TO SEND OVER HOG: %d", err);
        }
#endif /* CONFIG_ZMK_BLE */

        break;
    case HID_USAGE_CONSUMER:
        consumer_report = zmk_hid_get_consumer_report();
#ifdef CONFIG_ZMK_USB
        if (zmk_usb_hid_send_report((u8_t *)consumer_report,
                                    sizeof(struct zmk_hid_consumer_report)) != 0) {
            LOG_DBG("USB Send Failed");
        }
#endif /* CONFIG_ZMK_USB */

#ifdef CONFIG_ZMK_BLE
        err = zmk_hog_send_consumer_report(&consumer_report->body);
        if (err) {
            LOG_ERR("FAILED TO SEND OVER HOG: %d", err);
        }
#endif /* CONFIG_ZMK_BLE */

        break;
    default:
        LOG_ERR("Unsupported usage page %d", usage_page);
        return -ENOTSUP;
    }

    return 0;
}
```

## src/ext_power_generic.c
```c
/*
 * Copyright (c) 2020 The ZMK Contributors
 *
 * SPDX-License-Identifier: MIT
 */

#define DT_DRV_COMPAT zmk_ext_power_generic

#include <stdio.h>
#include <device.h>
#include <init.h>
#include <kernel.h>
#include <settings/settings.h>
#include <drivers/gpio.h>
#include <drivers/ext_power.h>

#if DT_HAS_COMPAT_STATUS_OKAY(DT_DRV_COMPAT)

#include <logging/log.h>
LOG_MODULE_DECLARE(zmk, CONFIG_ZMK_LOG_LEVEL);

struct ext_power_generic_config {
    const char *label;
    const uint8_t pin;
    const uint8_t flags;
    const uint16_t init_delay_ms;
};

struct ext_power_generic_data {
    const struct device *gpio;
    bool status;
#if IS_ENABLED(CONFIG_SETTINGS)
    bool settings_init;
#endif
#ifdef CONFIG_DEVICE_POWER_MANAGEMENT
    uint32_t pm_state;
#endif
};

#if IS_ENABLED(CONFIG_SETTINGS)
static void ext_power_save_state_work(struct k_work *work) {
    char setting_path[40];
    const struct device *ext_power = device_get_binding(DT_INST_LABEL(0));
    struct ext_power_generic_data *data = ext_power->data;

    snprintf(setting_path, 40, "ext_power/state/%s", DT_INST_LABEL(0));
    settings_save_one(setting_path, &data->status, sizeof(data->status));
}

static struct k_delayed_work ext_power_save_work;
#endif

int ext_power_save_state() {
#if IS_ENABLED(CONFIG_SETTINGS)
    k_delayed_work_cancel(&ext_power_save_work);
    return k_delayed_work_submit(&ext_power_save_work, K_MSEC(CONFIG_ZMK_SETTINGS_SAVE_DEBOUNCE));
#else
    return 0;
#endif
}

static int ext_power_generic_enable(const struct device *dev) {
    struct ext_power_generic_data *data = dev->data;
    const struct ext_power_generic_config *config = dev->config;

    if (gpio_pin_set(data->gpio, config->pin, 1)) {
        LOG_WRN("Failed to set ext-power control pin");
        return -EIO;
    }
    data->status = true;
    return ext_power_save_state();
}

static int ext_power_generic_disable(const struct device *dev) {
    struct ext_power_generic_data *data = dev->data;
    const struct ext_power_generic_config *config = dev->config;

    if (gpio_pin_set(data->gpio, config->pin, 0)) {
        LOG_WRN("Failed to clear ext-power control pin");
        return -EIO;
    }
    data->status = false;
    return ext_power_save_state();
}

static int ext_power_generic_get(const struct device *dev) {
    struct ext_power_generic_data *data = dev->data;
    return data->status;
}

#if IS_ENABLED(CONFIG_SETTINGS)
static int ext_power_settings_set(const char *name, size_t len, settings_read_cb read_cb,
                                  void *cb_arg) {
    const char *next;
    int rc;

    if (settings_name_steq(name, DT_INST_LABEL(0), &next) && !next) {
        const struct device *ext_power = device_get_binding(DT_INST_LABEL(0));
        struct ext_power_generic_data *data = ext_power->data;

        if (len != sizeof(data->status)) {
            return -EINVAL;
        }

        rc = read_cb(cb_arg, &data->status, sizeof(data->status));
        if (rc >= 0) {
            data->settings_init = true;

            if (ext_power == NULL) {
                LOG_ERR("Unable to retrieve ext_power device: %s", DT_INST_LABEL(0));
                return -EIO;
            }

            if (data->status) {
                ext_power_generic_enable(ext_power);
            } else {
                ext_power_generic_disable(ext_power);
            }

            return 0;
        }
        return rc;
    }
    return -ENOENT;
}

struct settings_handler ext_power_conf = {.name = "ext_power/state",
                                          .h_set = ext_power_settings_set};
#endif

static int ext_power_generic_init(const struct device *dev) {
    struct ext_power_generic_data *data = dev->data;
    const struct ext_power_generic_config *config = dev->config;

    data->gpio = device_get_binding(config->label);
    if (data->gpio == NULL) {
        LOG_ERR("Failed to get ext-power control device");
        return -EINVAL;
    }

    if (gpio_pin_configure(data->gpio, config->pin, config->flags | GPIO_OUTPUT)) {
        LOG_ERR("Failed to configure ext-power control pin");
        return -EIO;
    }

#ifdef CONFIG_DEVICE_POWER_MANAGEMENT
    data->pm_state = DEVICE_PM_ACTIVE_STATE;
#endif

#if IS_ENABLED(CONFIG_SETTINGS)
    settings_subsys_init();

    int err = settings_register(&ext_power_conf);
    if (err) {
        LOG_ERR("Failed to register the ext_power settings handler (err %d)", err);
        return err;
    }

    k_delayed_work_init(&ext_power_save_work, ext_power_save_state_work);

    // Set default value (on) if settings isn't set
    settings_load_subtree("ext_power");
    if (!data->settings_init) {

        data->status = true;
        k_delayed_work_submit(&ext_power_save_work, K_NO_WAIT);

        ext_power_enable(dev);
    }
#else
    // Default to the ext_power being open when no settings
    ext_power_enable(dev);
#endif

    if (config->init_delay_ms) {
        k_msleep(config->init_delay_ms);
    }

    return 0;
}

#ifdef CONFIG_DEVICE_POWER_MANAGEMENT
static int ext_power_generic_pm_control(const struct device *dev, uint32_t ctrl_command,
                                        void *context, device_pm_cb cb, void *arg) {
    int rc;
    struct ext_power_generic_data *data = dev->data;

    switch (ctrl_command) {
    case DEVICE_PM_SET_POWER_STATE:
        if (*((uint32_t *)context) == DEVICE_PM_ACTIVE_STATE) {
            data->pm_state = DEVICE_PM_ACTIVE_STATE;
            rc = 0;
        } else {
            ext_power_generic_disable(dev);
            data->pm_state = DEVICE_PM_LOW_POWER_STATE;
            rc = 0;
        }
        break;
    case DEVICE_PM_GET_POWER_STATE:
        *((uint32_t *)context) = data->pm_state;
        rc = 0;
        break;
    default:
        rc = -EINVAL;
    }

    if (cb != NULL) {
        cb(dev, rc, context, arg);
    }

    return rc;
}
#endif /* CONFIG_DEVICE_POWER_MANAGEMENT */

static const struct ext_power_generic_config config = {
    .label = DT_INST_GPIO_LABEL(0, control_gpios),
    .pin = DT_INST_GPIO_PIN(0, control_gpios),
    .flags = DT_INST_GPIO_FLAGS(0, control_gpios),
    COND_CODE_0(DT_INST_NODE_HAS_PROP(0, init_delay_ms), (0), (DT_INST_PROP(0, init_delay_ms)))};

static struct ext_power_generic_data data = {
    .status = false,
#if IS_ENABLED(CONFIG_SETTINGS)
    .settings_init = false,
#endif
};

static const struct ext_power_api api = {.enable = ext_power_generic_enable,
                                         .disable = ext_power_generic_disable,
                                         .get = ext_power_generic_get};

#define ZMK_EXT_POWER_INIT_PRIORITY 81

#ifdef CONFIG_DEVICE_POWER_MANAGEMENT
DEVICE_DEFINE(ext_power_generic, DT_INST_LABEL(0), ext_power_generic_init,
              &ext_power_generic_pm_control, &data, &config, POST_KERNEL,
              ZMK_EXT_POWER_INIT_PRIORITY, &api);
#else
DEVICE_AND_API_INIT(ext_power_generic, DT_INST_LABEL(0), ext_power_generic_init, &data, &config,
                    POST_KERNEL, ZMK_EXT_POWER_INIT_PRIORITY, &api);
#endif /* CONFIG_DEVICE_POWER_MANAGEMENT */

#endif /* DT_HAS_COMPAT_STATUS_OKAY(DT_DRV_COMPAT) */
```

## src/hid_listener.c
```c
/*
 * Copyright (c) 2020 The ZMK Contributors
 *
 * SPDX-License-Identifier: MIT
 */

#include <drivers/behavior.h>
#include <logging/log.h>

LOG_MODULE_DECLARE(zmk, CONFIG_ZMK_LOG_LEVEL);

#include <zmk/event-manager.h>
#include <zmk/events/keycode-state-changed.h>
#include <zmk/events/modifiers-state-changed.h>
#include <zmk/hid.h>
#include <zmk/hid_usage_pages.h>
#include <zmk/endpoints.h>

static int hid_listener_keycode_pressed(u8_t usage_page, u32_t keycode, zmk_mod_flags modifiers) {
    int err;
    LOG_DBG("usage_page 0x%02X keycode 0x%02X mods 0x%02X", usage_page, keycode, modifiers);
    if (modifiers) {
        zmk_hid_register_mods(modifiers);
    }
    switch (usage_page) {
    case HID_USAGE_KEY:
        err = zmk_hid_keypad_press(keycode);
        if (err) {
            LOG_ERR("Unable to press keycode");
            return err;
        }
        break;
    case HID_USAGE_CONSUMER:
        err = zmk_hid_consumer_press(keycode);
        if (err) {
            LOG_ERR("Unable to press keycode");
            return err;
        }
        break;
    }

    return zmk_endpoints_send_report(usage_page);
}

static int hid_listener_keycode_released(u8_t usage_page, u32_t keycode, zmk_mod_flags modifiers) {
    int err;
    LOG_DBG("usage_page 0x%02X keycode 0x%02X mods 0x%02X", usage_page, keycode, modifiers);
    if (modifiers) {
        zmk_hid_unregister_mods(modifiers);
    }
    switch (usage_page) {
    case HID_USAGE_KEY:
        err = zmk_hid_keypad_release(keycode);
        if (err) {
            LOG_ERR("Unable to release keycode");
            return err;
        }
        break;
    case HID_USAGE_CONSUMER:
        err = zmk_hid_consumer_release(keycode);
        if (err) {
            LOG_ERR("Unable to release keycode");
            return err;
        }
    }
    return zmk_endpoints_send_report(usage_page);
}

static int hid_listener_modifiers_pressed(zmk_mod_flags modifiers) {
    LOG_DBG("modifiers %d", modifiers);

    zmk_hid_register_mods(modifiers);
    return zmk_endpoints_send_report(HID_USAGE_KEY);
}

static int hid_listener_modifiers_released(zmk_mod_flags modifiers) {
    LOG_DBG("modifiers %d", modifiers);

    zmk_hid_unregister_mods(modifiers);
    return zmk_endpoints_send_report(HID_USAGE_KEY);
}

int hid_listener(const struct zmk_event_header *eh) {
    if (is_keycode_state_changed(eh)) {
        const struct keycode_state_changed *ev = cast_keycode_state_changed(eh);
        if (ev->state) {
            hid_listener_keycode_pressed(ev->usage_page, ev->keycode, ev->mods);
        } else {
            hid_listener_keycode_released(ev->usage_page, ev->keycode, ev->mods);
        }
    }
    return 0;
}

ZMK_LISTENER(hid_listener, hid_listener);
ZMK_SUBSCRIPTION(hid_listener, keycode_state_changed);
ZMK_SUBSCRIPTION(hid_listener, modifiers_state_changed);
```
